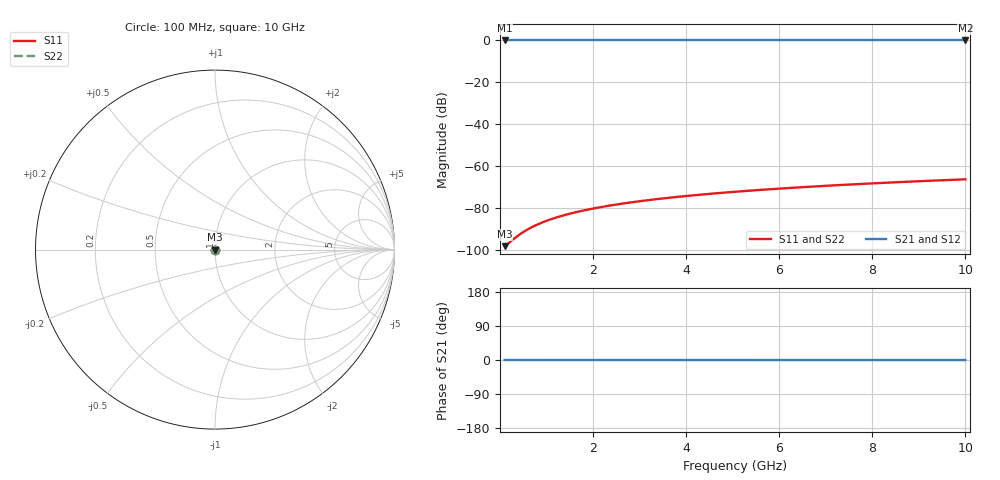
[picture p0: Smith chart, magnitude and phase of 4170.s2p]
# Hz S RI R 50.00
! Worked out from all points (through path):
!   100 points, 100 MHz to 10 GHz, reference 50 ohm
!   highest |S21| = 0.00 dB at 100 MHz (marker M1); lowest = 0.0 dB at 10 GHz (marker M2)
!   lowest |S11| = -98.0 dB at 100 MHz (marker M3), VSWR 1.00, Z = 50 + j0.000494 ohm
!   |S11| at or under -10 dB: start of sweep to end of sweep
!   |S22| runs from -98.0 to -66.1 dB; largest |S21 - S12| = 1e-16
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1e8  1.17e-05 4.94e-06  1 -1.59e-05  1 -1.59e-05  1.17e-05 4.94e-06
1.8e9  1.22e-05 8.88e-05  1 -0.000286  1 -0.000286  1.22e-05 8.88e-05
2e9  1.22e-05 9.87e-05  1 -0.000318  1 -0.000318  1.22e-05 9.87e-05
2.3e9  1.22e-05 0.000114  1 -0.000366  1 -0.000366  1.22e-05 0.000114
2.4e9  1.23e-05 0.000118  1 -0.000382  1 -0.000382  1.23e-05 0.000118
2.7e9  1.23e-05 0.000133  1 -0.000429  1 -0.000429  1.23e-05 0.000133
3e9  1.24e-05 0.000148  1 -0.000477  1 -0.000477  1.24e-05 0.000148
3.2e9  1.24e-05 0.000158  1 -0.000509  1 -0.000509  1.24e-05 0.000158
3.4e9  1.24e-05 0.000168  1 -0.000541  1 -0.000541  1.24e-05 0.000168
3.8e9  1.25e-05 0.000188  1 -0.000604  1 -0.000604  1.25e-05 0.000188
4.2e9  1.25e-05 0.000207  1 -0.000668  1 -0.000668  1.25e-05 0.000207
4.6e9  1.26e-05 0.000227  1 -0.000732  1 -0.000732  1.26e-05 0.000227
5.1e9  1.27e-05 0.000252  1 -0.000811  1 -0.000811  1.27e-05 0.000252
5.5e9  1.28e-05 0.000272  1 -0.000875  1 -0.000875  1.28e-05 0.000272
5.9e9  1.28e-05 0.000291  1 -0.000939  1 -0.000939  1.28e-05 0.000291
6.3e9  1.29e-05 0.000311  1 -0.001  1 -0.001  1.29e-05 0.000311
6.7e9  1.3e-05 0.000331  1 -0.00107  1 -0.00107  1.3e-05 0.000331
7.5e9  1.31e-05 0.00037  1 -0.00119  1 -0.00119  1.31e-05 0.00037
7.9e9  1.32e-05 0.00039  1 -0.00126  1 -0.00126  1.32e-05 0.00039
8.4e9  1.33e-05 0.000415  1 -0.00134  1 -0.00134  1.33e-05 0.000415
9.2e9  1.35e-05 0.000454  1 -0.00147  1 -0.00147  1.35e-05 0.000454
1e10  1.37e-05 0.000494  1 -0.00159  1 -0.00159  1.37e-05 0.000494
